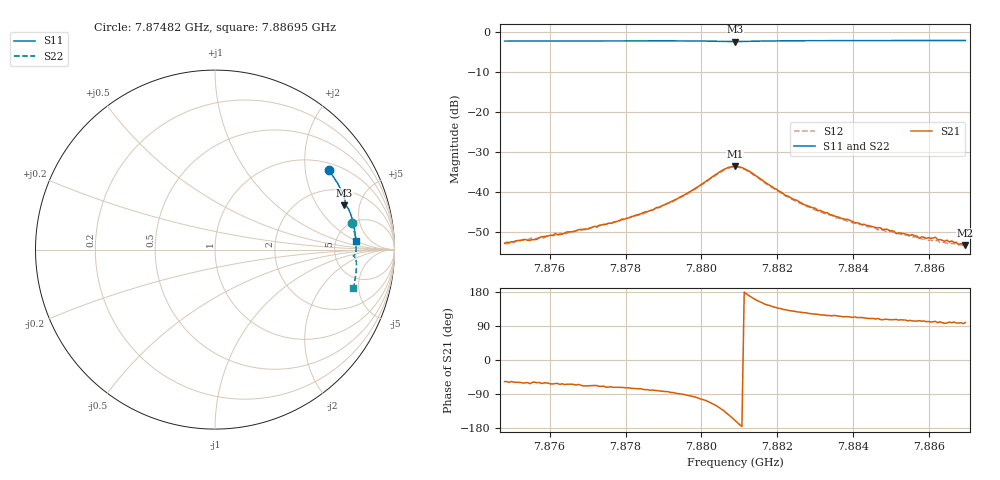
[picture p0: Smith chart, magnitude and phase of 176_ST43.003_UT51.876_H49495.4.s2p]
#  HZ  S  DB  R  50.00
! Rohde & Schwarz Vector Network Analyzer
! Rohde-Schwarz,ZNB20-2Port,1311601062101988,3.16
! Created: UTC 1/12/2023, 6:42:26 PM
! freq[Hz]  db:S11  ang:S11  db:S21  ang:S21  db:S12  ang:S12  db:S22  ang:S22
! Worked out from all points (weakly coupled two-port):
!   201 points, 7.87482 GHz to 7.88695 GHz, reference 50 ohm
!   highest |S21| = -33.52 dB at 7.88088 GHz (marker M1); lowest = -53.2 dB at 7.88695 GHz (marker M2)
!   lowest |S11| = -2.4 dB at 7.88088 GHz (marker M3), VSWR 7.39, Z = 151 + j177 ohm
!   |S11| at or under -10 dB: nowhere
!   |S22| runs from -2.3 to -1.9 dB; largest |S21 - S12| = 0.0013
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7.874817e9  -2.24 35.0  -52.79 -57.0  -52.83 -59.9  -2.18 11.0
7.875666e9  -2.23 32.6  -51.81 -60.1  -51.54 -63.3  -2.16 9.0
7.876151e9  -2.21 31.3  -50.33 -62.1  -50.80 -65.1  -2.14 7.9
7.876212e9  -2.22 31.1  -50.69 -62.0  -50.66 -66.0  -2.13 7.7
7.876879e9  -2.20 29.3  -49.35 -68.3  -49.32 -69.7  -2.11 6.2
7.877971e9  -2.19 26.3  -46.75 -72.9  -46.87 -77.0  -2.10 3.6
7.878881e9  -2.19 23.8  -43.82 -81.5  -43.83 -85.2  -2.08 1.4
7.879609e9  -2.20 21.7  -40.35 -92.9  -40.56 -95.8  -2.09 -0.3
7.880579e9  -2.32 19.2  -34.37 -133.3  -34.58 -137.0  -2.22 -2.6
7.880882e9  -2.37 18.9  -33.52 -159.6  -33.73 -162.7  -2.26 -2.6
7.881186e9  -2.32 18.7  -34.40 174.4  -34.57 171.2  -2.22 -2.7
7.882217e9  -2.17 16.0  -40.86 132.5  -41.02 129.3  -2.05 -4.8
7.882945e9  -2.14 14.0  -43.95 121.9  -44.30 118.7  -2.01 -6.6
7.884036e9  -2.11 11.0  -47.65 113.8  -47.71 109.9  -1.98 -9.1
7.884946e9  -2.10 8.6  -49.62 106.4  -49.92 105.2  -1.97 -11.1
7.885128e9  -2.10 8.2  -50.36 107.1  -50.43 101.9  -1.96 -11.5
7.885553e9  -2.10 7.0  -50.67 103.2  -51.22 99.5  -1.96 -12.5
7.885735e9  -2.09 6.6  -51.53 103.7  -51.47 99.6  -1.95 -12.8
7.886159e9  -2.09 5.5  -51.29 102.0  -52.19 97.6  -1.95 -13.8
7.88622e9  -2.09 5.3  -51.92 98.5  -52.07 98.2  -1.95 -13.9
7.886281e9  -2.09 5.1  -51.86 100.8  -52.63 99.1  -1.94 -14.0
7.886948e9  -2.08 3.4  -53.22 98.8  -53.52 95.3  -1.94 -15.5
